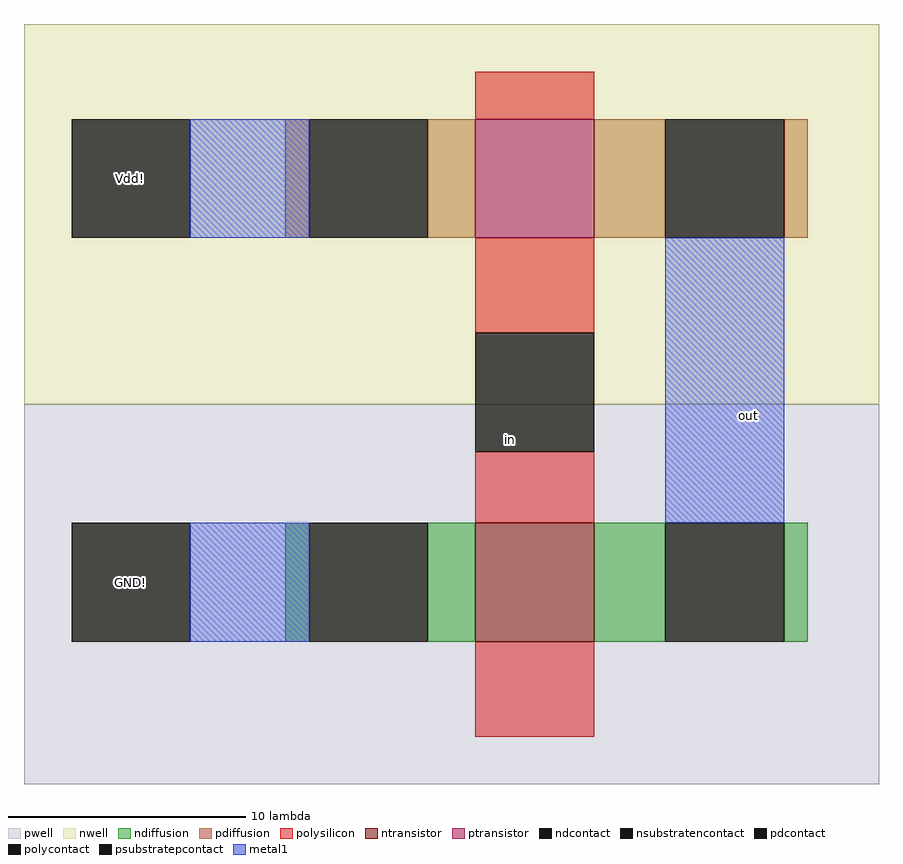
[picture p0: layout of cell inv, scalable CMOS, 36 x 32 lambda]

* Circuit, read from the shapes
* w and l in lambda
.subckt inv GND! Vdd! in out
M1 out in GND! GND! nfet w=5 l=5
M2 out in Vdd! Vdd! pfet w=5 l=5
.ends

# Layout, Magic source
magic
tech scmos
<< pwell >>
rect -24 -13 12 3
<< nwell >>
rect -24 3 12 19
<< polysilicon >>
rect -5 15 0 17
rect -5 6 0 10
rect -5 -2 0 1
rect -5 -11 0 -7
<< ndiffusion >>
rect -13 -7 -12 -2
rect -7 -7 -5 -2
rect 0 -7 3 -2
rect 8 -7 9 -2
<< pdiffusion >>
rect -13 10 -12 15
rect -7 10 -5 15
rect 0 10 3 15
rect 8 10 9 15
<< metal1 >>
rect -17 10 -12 15
rect 3 -2 8 10
rect -17 -7 -12 -2
<< ntransistor >>
rect -5 -7 0 -2
<< ptransistor >>
rect -5 10 0 15
<< polycontact >>
rect -5 1 0 6
<< ndcontact >>
rect -12 -7 -7 -2
rect 3 -7 8 -2
<< pdcontact >>
rect -12 10 -7 15
rect 3 10 8 15
<< psubstratepcontact >>
rect -22 -7 -17 -2
<< nsubstratencontact >>
rect -22 10 -17 15
<< labels >>
rlabel polycontact -4 1 -3 2 1 in
rlabel nsubstratencontact -20 12 -19 13 3 Vdd!
rlabel psubstratepcontact -20 -5 -19 -4 3 GND!
rlabel metal1 6 2 7 3 7 out
<< end >>
